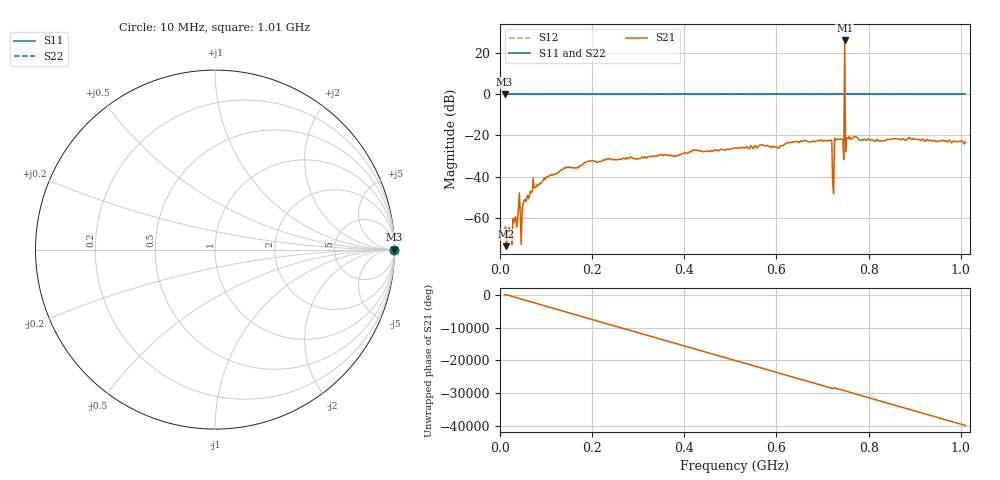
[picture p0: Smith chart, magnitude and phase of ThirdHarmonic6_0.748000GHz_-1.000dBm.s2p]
! 8/16/2025 1:01:47 AM
! C:\ANRITSUVNA\TEMP\TEMP.S2P
! CHANNEL.1
! TR.MEASUREMENT
! RAW.DATA
! RF.CORRECTION.OFF
! AVERAGING.OFF
! IF.BANDWIDTH: 5KHZ
! SWEEPTYPE:  FREQ.SWEEP(Linear)
! Reference Plane Port Info
! PORT:  PORT1  PORT2
! DISTANCE:  0  m  0  m
! TIME:  0  s  0  s
! PHASE.OFFSET:  0  deg.  0  deg.
! LOSS:  0  dB  0  dB
! REF.LOSS:  0  dB  0  dB
! REF.FREQ:  0  Hz  0  Hz
! Power Info
! POWER:  -20  dBm  -20  dBm
! EFF.POWER:  -20  dBm  -20  dBm
! SOURCE.ATTEN:  0  dB  0  dB
! TEST.ATTEN:  0  dB  0  dB
# GHZ S RI R 50.0
! FREQ.GHZ  S11RE  S11IM  S21RE  S21IM  S12RE  S12IM  S22RE  S22IM
!; PortSelection: Port_12
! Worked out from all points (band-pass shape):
!   501 points, 10 MHz to 1.01 GHz, reference 50 ohm
!   highest |S21| = 26.04 dB at 748 MHz (marker M1); lowest = -73.8 dB at 14 MHz (marker M2)
!   |S21| within 3 dB of the highest: 747.8962 MHz to 748.1112 MHz (214.9 kHz wide, 0.0287 % of centre)
!   lowest |S11| = 0.0 dB at 10 MHz (marker M3)
!   |S11| at or under -10 dB: nowhere
!   |S22| runs from 0.0 to 0.0 dB; largest |S21 - S12| = 19
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0.01  1 0  0.000314 7.29e-05  1 0  1 0
0.014  1 0  -1.07e-05 -0.000204  1 0  1 0
0.026  1 0  -0.000108 -0.000196  1 0  1 0
0.038  1 0  -0.000329 0.000764  1 0  1 0
0.048  1 0  0.000558 0.00143  1 0  1 0
0.054  1 0  -0.00276 5.12e-05  1 0  1 0
0.076  1 0  0.00533 0.000553  1 0  1 0
0.178  1 0  -0.0192 -0.000182  1 0  1 0
0.344  1 0  0.0283 -0.0148  1 0  1 0
0.51  1 0  -0.035 0.0352  1 0  1 0
0.678  1 0  -0.0664 -0.0297  1 0  1 0
0.716  1 0  -0.0231 0.0715  1 0  1 0
0.72  1 0  0.0434 -0.0601  1 0  1 0
0.726  1 0  0.0399 0.0745  1 0  1 0
0.73  1 0  -0.0108 -0.0772  1 0  1 0
0.742  1 0  -0.0546 0.0593  1 0  1 0
0.744  1 0  0.0487 0.0615  1 0  1 0
0.748  1 0  15.9 -12.2  1 0  1 0
0.752  1 0  -0.00985 0.083  1 0  1 0
0.754  1 0  0.0848 0.018  1 0  1 0
0.844  1 0  0.0736 -0.0307  1 0  1 0
1.01  1 0  -0.0286 0.063  1 0  1 0
